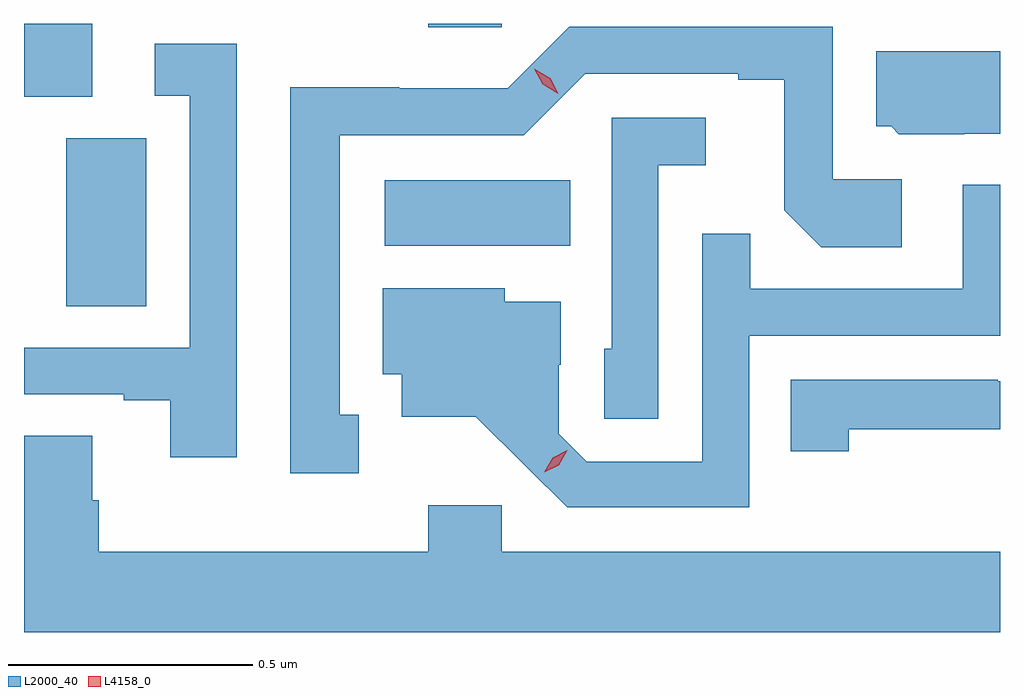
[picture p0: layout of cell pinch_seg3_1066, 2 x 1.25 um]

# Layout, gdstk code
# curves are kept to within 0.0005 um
import gdstk
lib = gdstk.Library(unit=1e-6, precision=1e-09)
def R(c, l, rs):  # rectangles x0, y0, x1, y1
    for r in rs: c.add(gdstk.rectangle(r[:2], r[2:], *l))
def P(c, l, *ps):  # polygons
    for p in ps: c.add(gdstk.Polygon(p, *l))
L2000_40 = (2000, 40)
L4158_0 = (4158, 0)

pinch_seg3_1066 = lib.new_cell('pinch_seg3_1066')
R(pinch_seg3_1066, L2000_40, [(334.97,693.592,335.134,693.936), (335.622,693.716,336.002,693.85), (334.883,694.021,335.023,694.17), (335.711,694.163,335.862,694.17)])
P(pinch_seg3_1066, L2000_40, [(335.569,693.369),(335.53,693.369),(335.53,693.942),(335.907,693.942),(336.033,694.068),(336.347,694.068),(336.347,694.056),(336.441,694.056),(336.441,693.788),(336.517,693.712),(336.682,693.712),(336.682,693.852),(336.54,693.852),(336.54,694.164),(336,694.164),(335.874,694.038),(335.652,694.038),(335.652,694.04),(335.429,694.04),(335.429,693.249),(335.569,693.249)],
  [(335.319,694.129),(335.151,694.129),(335.151,694.023),(335.223,694.023),(335.223,693.507),(334.883,693.507),(334.883,693.411),(335.087,693.411),(335.087,693.399),(335.183,693.399),(335.183,693.282),(335.319,693.282)],
  [(336.81,693.945),(336.883,693.945),(336.883,694.114),(336.629,694.114),(336.629,693.96),(336.66,693.96),(336.676,693.944),(336.81,693.944)],
  [(336.183,693.881),(336.28,693.881),(336.28,693.978),(336.087,693.978),(336.087,693.504),(336.072,693.504),(336.072,693.361),(336.183,693.361)],
  [(336.369,693.531),(336.883,693.531),(336.883,693.841),(336.807,693.841),(336.807,693.627),(336.371,693.627),(336.371,693.74),(336.273,693.74),(336.273,693.273),(336.036,693.273),(335.979,693.33),(335.979,693.472),(335.983,693.472),(335.983,693.601),(335.868,693.601),(335.868,693.628),(335.618,693.628),(335.618,693.452),(335.657,693.452),(335.657,693.365),(335.809,693.365),(335.996,693.18),(336.369,693.18)],
  [(336.573,693.34),(336.883,693.34),(336.883,693.438),(336.878,693.438),(336.878,693.441),(336.454,693.441),(336.454,693.294),(336.573,693.294)],
  [(336.883,693.088),(335.862,693.088),(335.862,693.184),(335.711,693.184),(335.711,693.088),(335.036,693.088),(335.036,693.194),(335.023,693.194),(335.023,693.326),(334.883,693.326),(334.883,692.924),(336.883,692.924)])
P(pinch_seg3_1066, L4158_0, [(335.949,693.251),(335.949,693.251),(335.966,693.281),(335.996,693.296),(335.996,693.296),(335.996,693.296),(335.979,693.266),(335.949,693.251)],
  [(335.978,694.027),(335.946,694.046),(335.929,694.078),(335.929,694.078),(335.929,694.078),(335.961,694.059),(335.978,694.027),(335.978,694.027)])

lib.write_gds('pinch_seg3_1066.gds')
